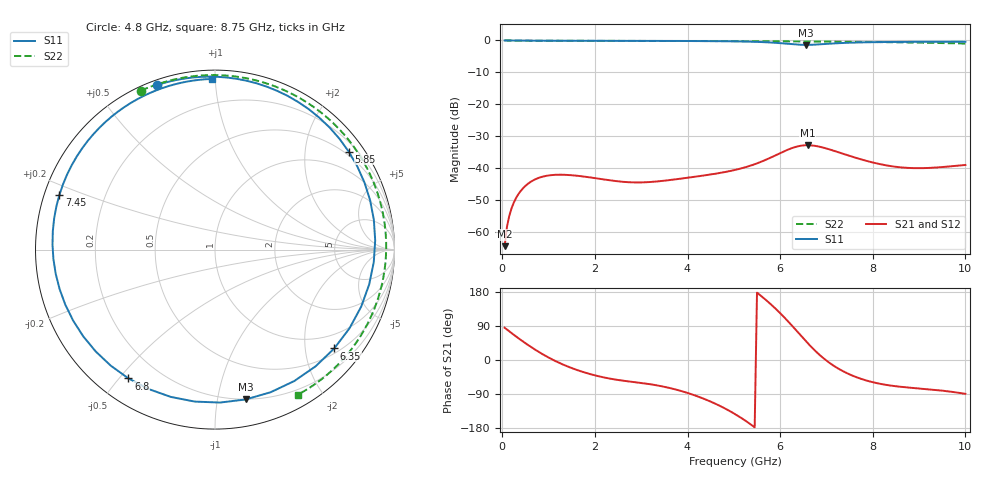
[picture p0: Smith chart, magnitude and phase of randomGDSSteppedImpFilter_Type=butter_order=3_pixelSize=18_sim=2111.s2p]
! freq	dB(S11)	phase(S11)	dB(S12)	phase(S12)
!  dB(S21)	phase(S21)	dB(S22)	phase(S22)
!S-par simulation data
#  GHz  S  DB  R 50
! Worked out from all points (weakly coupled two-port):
!   200 points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, 50 MHz to 10 GHz, reference 50 ohm
!   highest |S21| = -32.74 dB at 6.6 GHz (marker M1); lowest = -64.3 dB at 50 MHz (marker M2)
!   lowest |S11| = -1.4 dB at 6.55 GHz (marker M3), VSWR 12.53, Z = 9.87 - j60.2 ohm
!   |S11| at or under -10 dB: nowhere
!   |S22| runs from -1.0 to 0.0 dB; largest |S21 - S12| = 0
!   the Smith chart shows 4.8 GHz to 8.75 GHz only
!   S11 on the Smith chart (normalised r, x): 4.8 GHz: 0.02, +0.71; 5.85 GHz: 0.41, +3.01; 6.35 GHz: 0.61, -2.65; 6.8 GHz: 0.09, -0.53; 7.45 GHz: 0.04, +0.17; 8.75 GHz: 0.05, +0.98
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0.05  -0.00 -5.3  -64.28 85.2  -64.28 85.2  -0.00 -4.3
0.2  -0.03 -20.8  -52.44 71.0  -52.44 71.0  -0.02 -17.2
0.5  -0.06 -50.1  -45.44 44.3  -45.44 44.3  -0.05 -41.9
1  -0.10 -91.1  -42.19 6.4  -42.19 6.4  -0.09 -79.2
1.75  -0.11 -135.2  -42.51 -31.8  -42.51 -31.8  -0.12 -123.9
2.55  -0.12 -168.7  -44.10 -53.6  -44.10 -53.6  -0.13 -160.9
3.4  -0.14 161.7  -43.98 -68.3  -43.98 -68.3  -0.15 166.0
4.8  -0.25 109.4  -41.14 -127.4  -41.14 -127.4  -0.21 114.9
5.05  -0.29 97.1  -40.38 -144.5  -40.38 -144.5  -0.22 105.5
5.5  -0.45 68.7  -38.42 177.7  -38.42 177.7  -0.25 88.0
5.85  -0.69 36.2  -36.24 141.3  -36.24 141.3  -0.27 73.8
6.15  -1.04 -4.5  -34.23 104.7  -34.23 104.7  -0.29 61.3
6.35  -1.28 -39.7  -33.21 77.7  -33.21 77.7  -0.30 52.7
6.55  -1.39 -78.5  -32.75 50.4  -32.75 50.4  -0.32 43.9
6.6  -1.38 -88.1  -32.74 43.8  -32.74 43.8  -0.32 41.7
6.7  -1.34 -106.7  -32.83 31.1  -32.83 31.1  -0.33 37.2
6.8  -1.26 -123.9  -33.05 19.2  -33.05 19.2  -0.34 32.7
7.1  -0.98 -165.7  -34.20 -10.5  -34.20 -10.5  -0.37 18.9
7.45  -0.73 160.6  -35.84 -35.2  -35.84 -35.2  -0.41 2.5
8.35  -0.48 108.1  -39.18 -66.8  -39.18 -66.8  -0.54 -40.8
8.75  -0.44 91.0  -39.82 -72.5  -39.82 -72.5  -0.63 -60.3
10  -0.41 45.2  -38.91 -89.2  -38.91 -89.2  -0.96 -122.3
